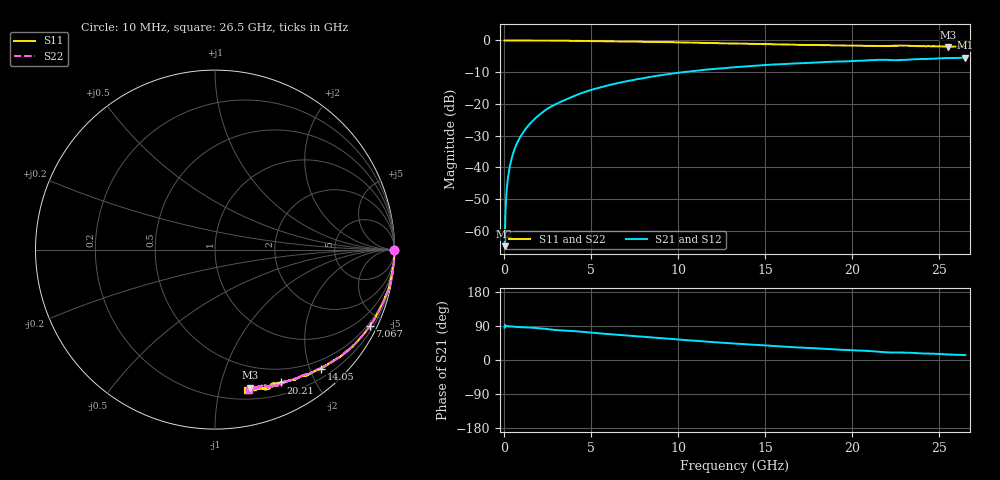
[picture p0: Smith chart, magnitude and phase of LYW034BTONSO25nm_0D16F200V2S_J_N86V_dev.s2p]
!Keysight Technologies,N5222B,MY61253708,A.15.00.15
!Date: Wednesday, June 19, 2024 09:29:21
!Correction: S11(C  2-Port  )
!S21(C  2-Port  )
!S12(C  2-Port  )
!S22(C  2-Port  )
!S2P File: Measurements: S11, S21, S12, S22:
# Hz S  RI  R 50
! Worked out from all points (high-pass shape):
!   2651 points, 10 MHz to 26.5 GHz, reference 50 ohm
!   highest |S21| = -5.38 dB at 26.5 GHz (marker M1); lowest = -64.8 dB at 10 MHz (marker M2)
!   |S21| within 3 dB of the highest: 13.39 GHz to end of sweep
!   lowest |S11| = -2.0 dB at 25.5 GHz (marker M3), VSWR 8.68, Z = 15 - j62.2 ohm
!   |S11| at or under -10 dB: nowhere
!   |S22| runs from -2.0 to 0.0 dB; largest |S21 - S12| = 0.0068
!   S11 on the Smith chart (normalised r, x): 10 MHz: open; 7.067 GHz: 0.37, -4.27; 14.05 GHz: 0.35, -2.18; 20.21 GHz: 0.33, -1.56; 26.5 GHz: 0.28, -1.21
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1e7  0.9987 -0.00249  4.97e-05 0.000572  4.2e-05 0.000312  0.9981 -0.00113
7.997358e7  0.9999 -0.00575  1.09e-05 0.00266  2.98e-05 0.00268  0.9993 -0.00532
1.599434e8  0.9999 -0.0115  7.65e-05 0.00537  5.8e-05 0.0054  0.9996 -0.0108
1.999283e8  1 -0.0138  9.11e-05 0.00673  7.54e-05 0.00674  0.9996 -0.0131
2.599057e8  0.9995 -0.0179  0.000142 0.0087  0.000141 0.00875  0.9994 -0.0172
3.598679e8  0.9993 -0.025  0.000291 0.012  0.000261 0.0121  0.9993 -0.0243
4.898189e8  0.9989 -0.0334  0.000547 0.0164  0.000558 0.0165  0.9988 -0.0325
6.497585e8  0.9984 -0.0437  0.000932 0.0216  0.00092 0.0219  0.9984 -0.0431
8.396868e8  0.9978 -0.0565  0.00152 0.0279  0.00157 0.0281  0.9978 -0.0563
1.459453e9  0.9903 -0.0991  0.00373 0.0487  0.00385 0.0491  0.9927 -0.0956
2.339121e9  0.9811 -0.1535  0.0104 0.0788  0.0106 0.0794  0.9822 -0.1543
3.198796e9  0.9701 -0.2087  0.0215 0.1047  0.0218 0.1054  0.9694 -0.2088
4.428332e9  0.9412 -0.2825  0.0393 0.1428  0.0398 0.1438  0.9423 -0.2807
7.067336e9  0.8637 -0.4242  0.0988 0.2065  0.1004 0.2072  0.8645 -0.4235
8.846664e9  0.7992 -0.5042  0.1474 0.2376  0.1492 0.2384  0.7994 -0.5037
1.3255e10  0.622 -0.6429  0.2754 0.2605  0.278 0.2601  0.6237 -0.6422
1.40547e10  0.5895 -0.664  0.2969 0.2579  0.2987 0.2574  0.5924 -0.6574
1.767333e10  0.4496 -0.7204  0.3811 0.2314  0.3849 0.2295  0.4576 -0.7182
2.021237e10  0.3665 -0.7403  0.431 0.2044  0.433 0.201  0.3774 -0.74
2.209166e10  0.3149 -0.7517  0.4627 0.1687  0.4647 0.1654  0.3065 -0.7576
2.550038e10  0.1967 -0.7686  0.511 0.1319  0.5126 0.1312  0.2148 -0.7709
2.65e10  0.1775 -0.783  0.5245 0.1207  0.5241 0.1165  0.1884 -0.7806
